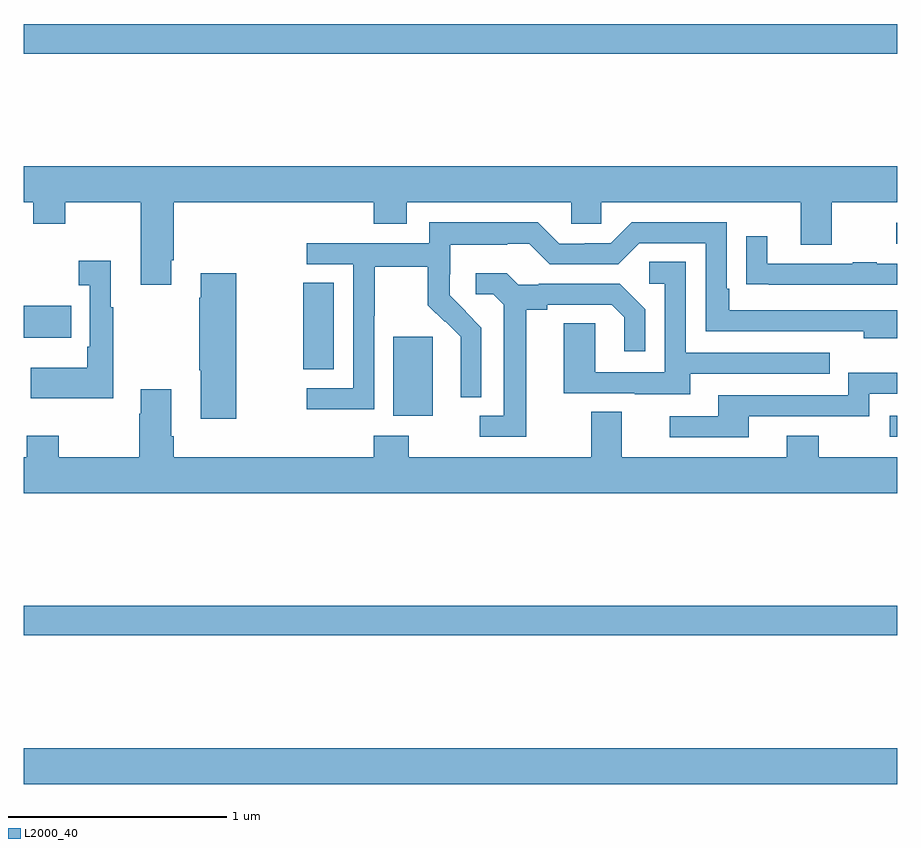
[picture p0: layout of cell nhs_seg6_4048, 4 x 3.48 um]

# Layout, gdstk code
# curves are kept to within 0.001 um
import gdstk
lib = gdstk.Library(unit=1e-6, precision=1e-09)
def R(c, l, rs):  # rectangles x0, y0, x1, y1
    for r in rs: c.add(gdstk.rectangle(r[:2], r[2:], *l))
def P(c, l, *ps):  # polygons
    for p in ps: c.add(gdstk.Polygon(p, *l))
L2000_40 = (2000, 40)

nhs_seg6_4048 = lib.new_cell('nhs_seg6_4048')
R(nhs_seg6_4048, L2000_40, [(349,985.964,353,986.128), (349,986.644,353,986.78), (352.965,987.555,353,987.651), (350.693,987.65,350.872,988.011), (350.281,987.862,350.419,988.259), (349,988.007,349.217,988.155), (352.995,988.437,353,988.533), (349,989.308,353,989.444)])
P(nhs_seg6_4048, L2000_40, [(349.675,988.363),(349.688,988.363),(349.688,988.628),(350.603,988.628),(350.603,988.529),(350.755,988.529),(350.755,988.628),(351.507,988.628),(351.507,988.53),(351.645,988.53),(351.645,988.628),(352.559,988.628),(352.559,988.434),(352.699,988.434),(352.699,988.628),(353,988.628),(353,988.792),(349,988.792),(349,988.628),(349.043,988.628),(349.043,988.529),(349.191,988.529),(349.191,988.628),(349.535,988.628),(349.535,988.251),(349.675,988.251)],
  [(350.604,988.108),(350.607,988.108),(350.607,988.332),(350.851,988.332),(350.851,988.157),(350.928,988.08),(350.931,988.083),(351.002,988.013),(351.002,987.89),(351,987.89),(351,987.736),(351.096,987.736),(351.096,988.054),(350.95,988.202),(350.95,988.299),(350.952,988.299),(350.952,988.433),(351.215,988.433),(351.215,988.437),(351.315,988.437),(351.408,988.344),(351.723,988.344),(351.819,988.44),(352.122,988.44),(352.122,988.038),(352.847,988.038),(352.847,988.004),(353,988.004),(353,988.134),(352.231,988.134),(352.231,988.231),(352.218,988.231),(352.218,988.536),(351.783,988.536),(351.687,988.44),(351.569,988.44),(351.569,988.437),(351.453,988.437),(351.353,988.537),(350.856,988.537),(350.856,988.44),(350.295,988.44),(350.295,988.344),(350.508,988.344),(350.508,987.777),(350.295,987.777),(350.295,987.679),(350.604,987.679)],
  [(353,988.347),(352.907,988.347),(352.907,988.352),(352.795,988.352),(352.795,988.347),(352.405,988.347),(352.405,988.471),(352.309,988.471),(352.309,988.252),(352.411,988.252),(352.411,988.251),(353,988.251)],
  [(349.411,988.147),(349.399,988.147),(349.399,988.36),(349.251,988.36),(349.251,988.247),(349.302,988.247),(349.302,987.967),(349.29,987.967),(349.29,987.871),(349.033,987.871),(349.033,987.731),(349.411,987.731)],
  [(352.051,987.843),(352.691,987.843),(352.691,987.939),(352.032,987.939),(352.032,988.355),(351.864,988.355),(351.864,988.254),(351.936,988.254),(351.936,987.849),(351.618,987.849),(351.618,988.073),(351.473,988.073),(351.473,987.753),(351.797,987.753),(351.797,987.749),(352.051,987.749)],
  [(349.974,988.303),(349.811,988.303),(349.811,988.19),(349.804,988.19),(349.804,987.859),(349.811,987.859),(349.811,987.636),(349.974,987.636)],
  [(351.301,988.136),(351.397,988.136),(351.397,988.158),(351.692,988.158),(351.749,988.101),(351.749,987.945),(351.846,987.945),(351.846,988.138),(351.73,988.254),(351.358,988.254),(351.358,988.251),(351.264,988.251),(351.212,988.303),(351.069,988.303),(351.069,988.206),(351.15,988.206),(351.197,988.159),(351.197,987.651),(351.087,987.651),(351.087,987.555),(351.301,987.555)],
  [(352.321,987.648),(352.872,987.648),(352.872,987.75),(353,987.75),(353,987.847),(352.776,987.847),(352.776,987.744),(352.181,987.744),(352.181,987.648),(351.957,987.648),(351.957,987.552),(352.321,987.552)],
  [(353,987.46),(352.641,987.46),(352.641,987.559),(352.493,987.559),(352.493,987.46),(351.739,987.46),(351.739,987.668),(351.599,987.668),(351.599,987.46),(350.763,987.46),(350.763,987.559),(350.603,987.559),(350.603,987.46),(349.688,987.46),(349.688,987.556),(349.675,987.556),(349.675,987.772),(349.535,987.772),(349.535,987.659),(349.528,987.659),(349.528,987.46),(349.161,987.46),(349.161,987.559),(349.014,987.559),(349.014,987.46),(349,987.46),(349,987.296),(353,987.296)])

lib.write_gds('nhs_seg6_4048.gds')
